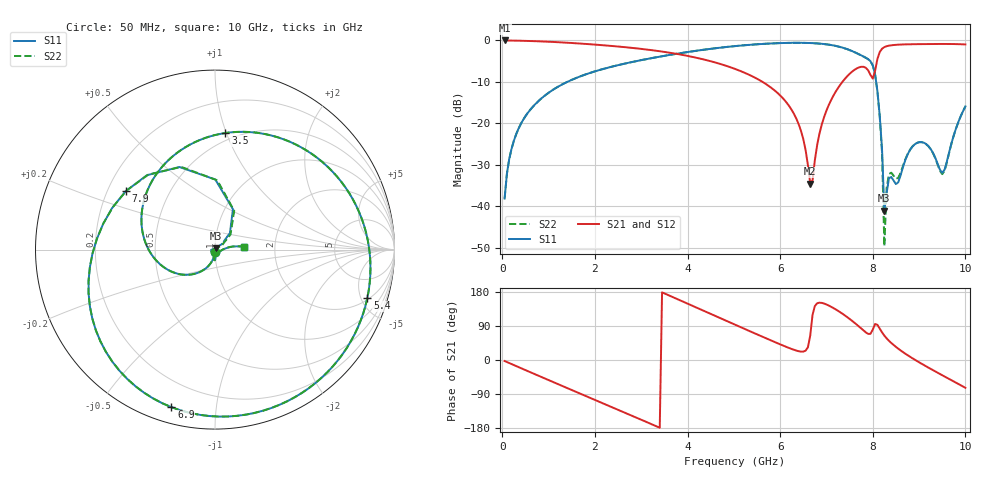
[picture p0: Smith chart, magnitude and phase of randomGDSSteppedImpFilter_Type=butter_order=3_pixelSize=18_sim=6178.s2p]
! freq	dB(S11)	phase(S11)	dB(S12)	phase(S12)
!  dB(S21)	phase(S21)	dB(S22)	phase(S22)
!S-par simulation data
#  GHz  S  DB  R 50
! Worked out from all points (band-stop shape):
!   200 points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, 50 MHz to 10 GHz, reference 50 ohm
!   highest |S21| = 0.00 dB at 50 MHz (marker M1); lowest = -34.6 dB at 6.65 GHz (marker M2)
!   |S21| within 3 dB of the highest: start of sweep to 3.637 GHz; 8.144 GHz to end of sweep
!   lowest |S11| = -41.1 dB at 8.25 GHz (marker M3), VSWR 1.02, Z = 50.4 + j0.813 ohm
!   |S11| at or under -10 dB: start of sweep to 1.404 GHz; 8.073 GHz to end of sweep
!   |S22| runs from -49.7 to -0.6 dB; largest |S21 - S12| = 0
!   S11 on the Smith chart (normalised r, x): 50 MHz: 1.00, -0.02; 3.5 GHz: 0.44, +0.99; 5.4 GHz: 2.15, -5.62; 6.9 GHz: 0.07, -0.76; 7.9 GHz: 0.27, +0.28; 10 GHz: 1.38, +0.04
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0.05  -38.18 -92.5  -0.00 -2.7  -0.00 -2.7  -38.18 -92.5
0.2  -26.15 -100.8  -0.03 -10.7  -0.03 -10.7  -26.15 -100.8
0.5  -18.28 -117.4  -0.10 -26.7  -0.10 -26.7  -18.28 -117.4
1.75  -8.40 177.0  -0.80 -92.2  -0.80 -92.2  -8.40 177.0
3.4  -3.91 90.2  -2.60 -178.8  -2.60 -178.8  -3.91 90.3
3.5  -3.71 84.9  -2.77 175.8  -2.77 175.8  -3.71 84.9
5.05  -1.34 1.1  -6.98 91.8  -6.98 91.8  -1.34 1.2
5.4  -1.01 -17.7  -8.67 73.0  -8.67 73.0  -1.01 -17.7
6.3  -0.57 -67.5  -17.77 26.8  -17.77 26.8  -0.57 -67.5
6.65  -0.63 -88.7  -34.56 64.8  -34.56 64.8  -0.63 -88.8
6.7  -0.65 -91.9  -33.75 119.6  -33.75 119.6  -0.65 -92.0
6.9  -0.81 -105.5  -20.26 150.6  -20.26 150.6  -0.81 -105.5
7.5  -2.32 -155.6  -8.06 108.4  -8.06 108.4  -2.33 -155.8
7.9  -4.51 146.9  -7.21 68.9  -7.21 68.9  -4.54 146.2
8.15  -18.08 48.1  -2.80 82.8  -2.80 82.8  -18.38 44.2
8.2  -26.28 38.9  -2.00 72.9  -2.00 72.9  -27.04 30.8
8.25  -41.07 66.0  -1.61 64.3  -1.61 64.3  -49.68 50.4
8.3  -36.79 176.6  -1.39 57.0  -1.39 57.0  -35.52 -165.7
8.35  -33.27 -176.1  -1.26 50.6  -1.26 50.6  -32.26 -167.1
9  -24.57 -90.6  -0.89 -6.0  -0.89 -6.0  -24.57 -91.9
9.5  -31.96 -48.8  -0.85 -40.2  -0.85 -40.2  -32.29 -49.2
10  -15.93 5.3  -0.96 -73.3  -0.96 -73.3  -15.94 5.6
